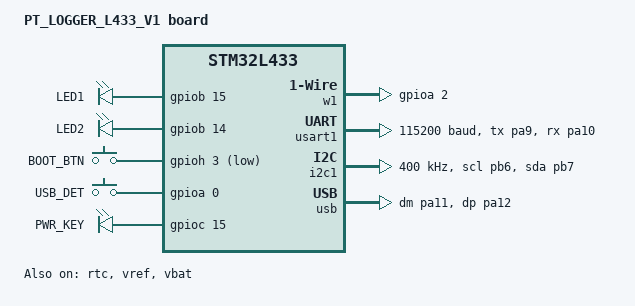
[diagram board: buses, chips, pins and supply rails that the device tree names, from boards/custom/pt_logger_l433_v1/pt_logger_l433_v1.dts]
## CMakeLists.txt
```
cmake_minimum_required(VERSION 3.20.0)

# Set the boards root to the current directory so Zephyr can find out-of-tree boards
list(APPEND BOARD_ROOT ${CMAKE_CURRENT_SOURCE_DIR})

find_package(Zephyr REQUIRED HINTS $ENV{ZEPHYR_BASE})
project(pt_logger_app)
#add_subdirectory(libs/max31888)

#target_sources(app PRIVATE src/main.cpp mbed/rv3129-c3/RV3129C3.cpp mbed/max31888/MAX31888.cpp)
target_sources(app PRIVATE src/main.cpp)
#target_include_directories(app PRIVATE mbed/rv3129-c3 mbed/ad5142a mbed/max31888)
```

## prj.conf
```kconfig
# =============================================================
# PT_LOGGER_L433_V1  —  prj.conf
# =============================================================
CONFIG_CPP=y
CONFIG_STD_CPP17=y
CONFIG_REQUIRES_FULL_LIBC=y

CONFIG_FPU=y
CONFIG_CORTEX_M_SYSTICK=y
CONFIG_CORTEX_M_DWT=y
CONFIG_PINCTRL=y
# -------------------------------------------------------------
# Console  (USART1 — debug, remove later)
# -------------------------------------------------------------
CONFIG_CONSOLE=y
CONFIG_UART_CONSOLE=y
CONFIG_SERIAL=y
CONFIG_UART_USE_RUNTIME_CONFIGURE=y
# -------------------------------------------------------------
# Shell
# -------------------------------------------------------------
CONFIG_SHELL=y
CONFIG_SHELL_BACKEND_SERIAL=y
CONFIG_SHELL_PROMPT_UART="pt_logger:~$ "
CONFIG_SHELL_HISTORY=y
CONFIG_SHELL_HISTORY_BUFFER=512
CONFIG_SHELL_TAB=y
CONFIG_SHELL_TAB_AUTOCOMPLETION=y

# -------------------------------------------------------------
# Logging
# -------------------------------------------------------------
CONFIG_LOG=y
CONFIG_LOG_DEFAULT_LEVEL=3
CONFIG_LOG_BACKEND_UART=y
CONFIG_LOG_PRINTK=y
CONFIG_LOG_BUFFER_SIZE=4096

# -------------------------------------------------------------
# USB CDC-ACM  (old stack — Zephyr 4.x)
# -------------------------------------------------------------
CONFIG_USB_DEVICE_STACK=y
CONFIG_USB_DEVICE_PRODUCT="PT Logger"
# CONFIG_USB_DEVICE_VID=0x2FE3
# CONFIG_USB_DEVICE_PID=0x0001
# -------------------------------------------------------------
# GPIO / Reboot
# -------------------------------------------------------------
CONFIG_GPIO=y
CONFIG_GPIO_SHELL=y
CONFIG_REBOOT=y
CONFIG_CRC=y

#
# 1-Wire support
#
CONFIG_W1=y
CONFIG_W1_SHELL=y
CONFIG_W1_ZEPHYR_GPIO_TIME_CRITICAL=y
#
# I2C support
#
CONFIG_I2C=y
CONFIG_I2C_SHELL=y
CONFIG_I2C_LOG_LEVEL_INF=y
CONFIG_I2C_STM32_V2_TIMING=y
CONFIG_I2C_STM32=y
```

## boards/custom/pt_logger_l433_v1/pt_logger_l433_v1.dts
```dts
/dts-v1/;
#include <st/l4/stm32l433Xc.dtsi>
#include <st/l4/stm32l433c(b-c)ux-pinctrl.dtsi>
#include <zephyr/dt-bindings/input/input-event-codes.h>

/ {
	model = "PT_LOGGER_L433_V1 board";
	compatible = "st,stm32l433";

	chosen {
		zephyr,console = &usart1;
		zephyr,shell-uart = &usart1;
		zephyr,sram = &sram0;
		zephyr,flash = &flash0;
	};

	leds: leds {
		compatible = "gpio-leds";

		green_led: led_0 {
			gpios = <&gpiob 15 GPIO_ACTIVE_HIGH>;
			label = "LED1";
		};
		red_led: led_1 {
			gpios = <&gpiob 14 GPIO_ACTIVE_HIGH>;
			label = "LED2";
		};
	};

	gpio_keys {
		compatible = "gpio-keys";

		user_button: button_0 {
			gpios = <&gpioh 3 (GPIO_ACTIVE_LOW | GPIO_PULL_UP)>;
			label = "BOOT_BTN";
		};

		usb_detect: button_1 {
			gpios = <&gpioa 0 (GPIO_ACTIVE_HIGH | GPIO_PULL_DOWN)>;
			label = "USB_DET";
		};
	};

	pwr_ctrl {
		compatible = "gpio-leds";
		pwr_key: pwr_key {
			gpios = <&gpioc 15 GPIO_ACTIVE_HIGH>;
			label = "PWR_KEY";
		};
	};

	w1: w1 {
		compatible = "zephyr,w1-gpio";
		gpios = <&gpioa 2 (GPIO_ACTIVE_HIGH | GPIO_OPEN_DRAIN )>;
		label = "W1_BUS";
		status = "okay";
	};

	aliases {
		led0 = &green_led;
		led1 = &red_led;
		sw0 = &user_button;
		volt-sensor0 = &vref;
		volt-sensor1 = &vbat;
	};
};

&clk_lsi {
	status = "okay";
};

&clk_hsi {
	status = "okay";
};

&clk_hsi48 {
	status = "okay";
};

&pll {
	div-m = <1>;
	mul-n = <20>;
	div-p = <7>;
	div-q = <2>;
	div-r = <4>;
	clocks = <&clk_hsi>;
	status = "okay";
};

&rcc {
	clocks = <&pll>;
	clock-frequency = <DT_FREQ_M(80)>;
	ahb-prescaler = <1>;
	apb1-prescaler = <1>;
	apb2-prescaler = <1>;
};

&usart1 {
	pinctrl-0 = <&usart1_tx_pa9 &usart1_rx_pa10>;
	pinctrl-names = "default";
	current-speed = <115200>;
	status = "okay";
};

&i2c1 {
	pinctrl-0 = <&i2c1_scl_pb6 &i2c1_sda_pb7>;
	pinctrl-names = "default";
	clock-frequency = <I2C_BITRATE_FAST>;
	status = "okay";
};

/* ==================== USB ==================== */
&usb {
	pinctrl-0 = <&usb_dm_pa11 &usb_dp_pa12>;
	pinctrl-names = "default";
	status = "okay";
	cdc_acm_uart0: cdc_acm_uart0 {
		compatible = "zephyr,cdc-acm-uart";
	};
};

&rtc {
	clocks = <&rcc STM32_CLOCK(APB1, 28)>,
		 <&rcc STM32_SRC_LSI RTC_SEL(2)>;
	status = "okay";
};

&flash0 {
	partitions {
		#address-cells = <1>;
		#size-cells = <1>;
		ranges;
		
		storage_partition: partition@3e000 {
			compatible = "zephyr,mapped-partition";
			label = "storage";
			reg = <0x0003e000 DT_SIZE_K(8)>;
		};
	};
};

&vref {
	status = "okay";
};

&vbat {
	status = "okay";
};
```

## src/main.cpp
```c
/*
 * PT_LOGGER_L433_V1 — main.cpp
 * Zephyr 4.4.x  (USB_DEVICE_STACK_NEXT)
 *
 * Shell over USART1 (debug console).
 * USB CDC-ACM for application data (nanopb → COBS → USB).
 *
 * Shell commands:
 *   pt reboot   — cold reboot
 *   pt dfu      — jump to STM32 system bootloader (USB DFU)
 */

#include <inttypes.h>               /* PRIx32 */
#include <zephyr/kernel.h>
#include <zephyr/device.h>
#include <zephyr/drivers/uart.h>
#include <zephyr/drivers/w1.h>
#include <zephyr/drivers/gpio.h>
#include <zephyr/shell/shell.h>
#include <zephyr/sys/reboot.h>
#include <zephyr/logging/log.h>
#include <zephyr/usb/usb_device.h>
#include <cmsis_core.h>
#include <zephyr/init.h>
#include <soc.h>


LOG_MODULE_REGISTER(pt_logger, LOG_LEVEL_DBG);


// #define CDC_DEV DEVICE_DT_GET(DT_NODELABEL(cdc_acm_uart0))
// #define TEMP_SENSOR_DEV DEVICE_DT_GET(DT_NODELABEL(w1))

#define CRASH_MAGIC_NUMBER 0xDEADBEEF
#define REBOOT_REASON_DFU  0xDFDFDFDF

__noinit struct {
    uint32_t magic;
    uint32_t reset_reason;
} crash_data;

/* ============================================================
 * USB init / deinit
 * ========================================================== */

/* ============================================================
 * Peripheral initialization
 *=========================================================== */
const struct device *w1_dev = TEMP_SENSOR_DEV;


/* ============================================================
 * STM32L433 system bootloader jump
 *
 * Address from ST AN2606 — STM32L4 series system memory.
 * Vector table: [0] = initial MSP, [1] = reset handler PC.
 * ========================================================== */
#define STM32_BOOTLOADER_ADDR  0x1FFF0000UL

static int early_dfu_check(void)
{
    if (crash_data.magic == CRASH_MAGIC_NUMBER && crash_data.reset_reason == REBOOT_REASON_DFU) {
        
        crash_data.magic = 0;
        crash_data.reset_reason = 0;

        __disable_irq();

        MPU->CTRL = 0;
        __DSB();
        __ISB();

        SysTick->CTRL = 0;
        SysTick->LOAD = 0;
        SysTick->VAL = 0;

        RCC->APB2ENR |= RCC_APB2ENR_SYSCFGEN;
        volatile uint32_t tmpreg = RCC->APB2ENR; 
        (void)tmpreg;
        
        SYSCFG->MEMRMP = 0x01;
        __DSB();
        __ISB();

        SCB->VTOR = STM32_BOOTLOADER_ADDR;
        __DSB();
        __ISB();

        uint32_t bootloader_msp = *((volatile uint32_t *)STM32_BOOTLOADER_ADDR);
        uint32_t bootloader_pc  = *((volatile uint32_t *)(STM32_BOOTLOADER_ADDR + 4));
        
        __set_MSP(bootloader_msp);
        ((void (*)(void))bootloader_pc)();

        CODE_UNREACHABLE;
    }

    return 0;
}
SYS_INIT(early_dfu_check, PRE_KERNEL_1, 0);


/* ============================================================
 * Shell command handlers
 * ========================================================== */
static int cmd_reboot(const struct shell *sh, size_t argc, char **argv)
{
    ARG_UNUSED(argc);
    ARG_UNUSED(argv);

    shell_print(sh, "Rebooting...");
    k_msleep(50);
    sys_reboot(SYS_REBOOT_COLD);
    return 0;
}

static int cmd_dfu(const struct shell *sh, size_t argc, char **argv)
{
    ARG_UNUSED(argc);
    ARG_UNUSED(argv);

    shell_print(sh, "Jumping to DFU bootloader...");
    shell_print(sh, "Flash with: dfu-util -a 0 -s 0x08000000:leave -D firmware.bin");

    k_msleep(50); 


    crash_data.magic = CRASH_MAGIC_NUMBER;
    crash_data.reset_reason = REBOOT_REASON_DFU;

    sys_reboot(SYS_REBOOT_COLD);
    return 0;
}

static int cmd_temp(const struct shell *sh, size_t argc, char **argv){
    ARG_UNUSED(argc);
    ARG_UNUSED(argv);

    k_sleep(K_SECONDS(2));

    return 0;
}

static int cmd_exit(const struct shell *sh, size_t argc, char **argv)
{
    ARG_UNUSED(argc);
    ARG_UNUSED(argv);

    shell_print(sh, "Stopping Zephyr Shell. Terminal is now detached.");
    k_msleep(50);


    shell_stop(sh);

   
    return 0;
}

SHELL_STATIC_SUBCMD_SET_CREATE(pt_cmds,
    SHELL_CMD_ARG(reboot, NULL,
                  "Cold reboot the device.",
                  cmd_reboot, 1, 0),
    SHELL_CMD_ARG(dfu, NULL,
                  "Jump to STM32 system bootloader (USB DFU).\n"
                  "Flash with: dfu-util -a 0 -s 0x08000000:leave -D firmware.bin",
                  cmd_dfu, 1, 0),
    SHELL_CMD_ARG(temp, NULL,
                  "Read temperature from MAX31888 sensor.",
                  cmd_temp, 1, 0),
    SHELL_CMD_ARG(exit, NULL, "Detach shell and free UART/USB port",
                  cmd_exit, 1, 0),
    SHELL_SUBCMD_SET_END
);

SHELL_CMD_REGISTER(pt, &pt_cmds, "PT Logger commands.", NULL);

void w1_search_callback(struct w1_rom rom, void *user_data)
{
	LOG_INF("Device found; family: 0x%02x, serial: 0x%016llx", rom.family, w1_rom_to_uint64(&rom));
}

/* ============================================================
 * main
 * ========================================================== */
int main(void)
{
    LOG_INF("PT Logger starting — Zephyr %s", KERNEL_VERSION_STRING);
    LOG_INF("Shell on USART1. Type 'pt <tab>' for commands.");

    k_sleep(K_SECONDS(1)); 

 
    while (true) {
        k_sleep(K_SECONDS(1));
    }
    return 0;
}
```
